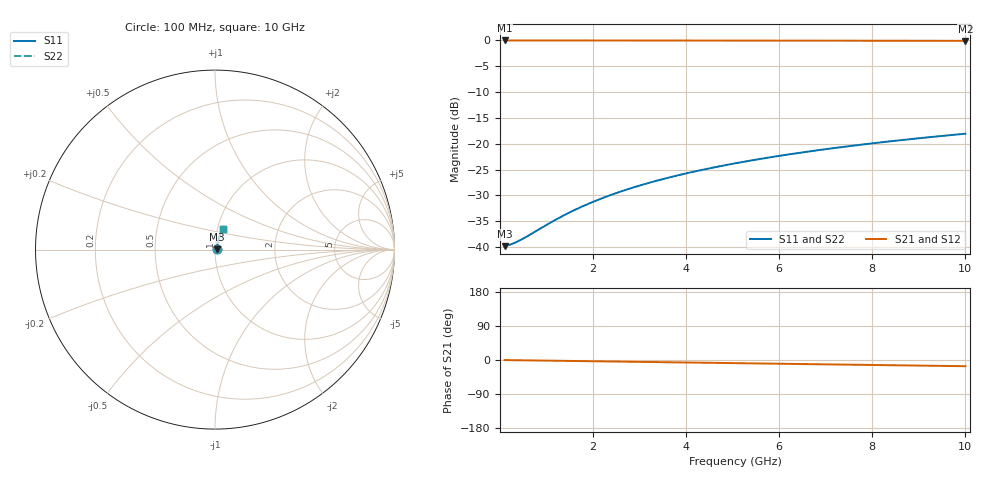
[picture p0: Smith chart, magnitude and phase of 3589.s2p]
# Hz S RI R 50.00
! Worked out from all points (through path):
!   100 points, 100 MHz to 10 GHz, reference 50 ohm
!   highest |S21| = -0.09 dB at 100 MHz (marker M1); lowest = -0.2 dB at 10 GHz (marker M2)
!   group delay of S21, straight-line fit = 4.55 ps
!   lowest |S11| = -39.8 dB at 100 MHz (marker M3), VSWR 1.02, Z = 51 + j0.126 ohm
!   |S11| at or under -10 dB: start of sweep to end of sweep
!   |S22| runs from -39.8 to -18.1 dB; largest |S21 - S12| = 0
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1e8  0.0102 0.00124  0.9898 -0.00284  0.9898 -0.00284  0.0102 0.00124
2e8  0.0103 0.00247  0.9897 -0.00568  0.9897 -0.00568  0.0103 0.00247
3e8  0.0103 0.00371  0.9897 -0.00853  0.9897 -0.00853  0.0103 0.00371
4e8  0.0104 0.00495  0.9896 -0.0114  0.9896 -0.0114  0.0104 0.00495
6e8  0.0105 0.00742  0.9894 -0.017  0.9894 -0.017  0.0105 0.00742
1e9  0.0108 0.0124  0.989 -0.0284  0.989 -0.0284  0.0108 0.0124
1.3e9  0.0111 0.0161  0.9886 -0.0369  0.9886 -0.0369  0.0111 0.0161
1.5e9  0.0114 0.0185  0.9883 -0.0426  0.9883 -0.0426  0.0114 0.0185
1.8e9  0.0118 0.0222  0.9878 -0.0511  0.9878 -0.0511  0.0118 0.0222
2.1e9  0.0122 0.0259  0.9872 -0.0596  0.9872 -0.0596  0.0122 0.0259
2.5e9  0.0129 0.0308  0.9862 -0.0709  0.9862 -0.0709  0.0129 0.0308
2.9e9  0.0137 0.0356  0.9851 -0.0822  0.9851 -0.0822  0.0137 0.0356
3.4e9  0.0149 0.0417  0.9836 -0.0963  0.9836 -0.0963  0.0149 0.0417
3.8e9  0.016 0.0465  0.9821 -0.1075  0.9821 -0.1075  0.016 0.0465
4.2e9  0.0171 0.0513  0.9805 -0.1187  0.9805 -0.1187  0.0171 0.0513
4.6e9  0.0184 0.0561  0.9788 -0.1299  0.9788 -0.1299  0.0184 0.0561
5.1e9  0.0201 0.062  0.9764 -0.1438  0.9764 -0.1438  0.0201 0.062
5.9e9  0.0232 0.0713  0.9722 -0.166  0.9722 -0.166  0.0232 0.0713
6.7e9  0.0268 0.0805  0.9673 -0.188  0.9673 -0.188  0.0268 0.0805
7.5e9  0.0307 0.0894  0.9619 -0.2098  0.9619 -0.2098  0.0307 0.0894
8.4e9  0.0357 0.0993  0.9551 -0.234  0.9551 -0.234  0.0357 0.0993
1e10  0.0456 0.116  0.9412 -0.2765  0.9412 -0.2765  0.0456 0.116
